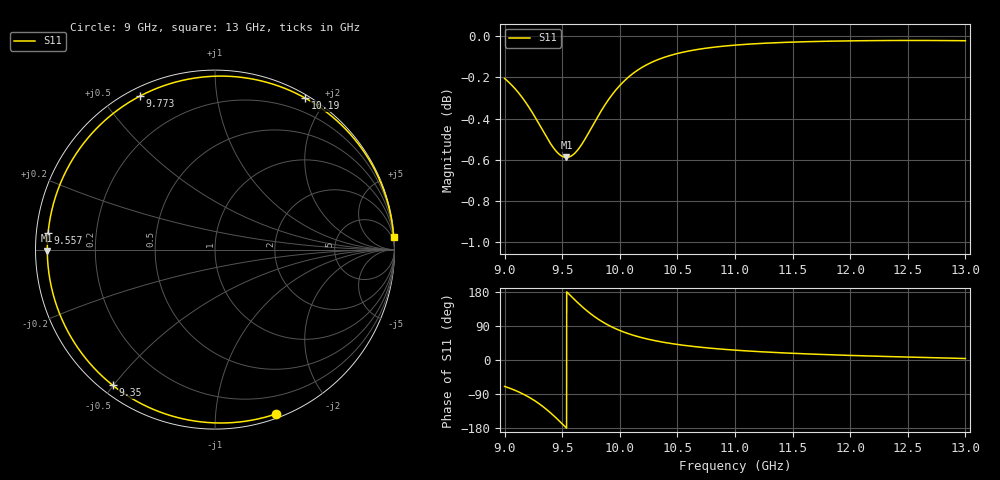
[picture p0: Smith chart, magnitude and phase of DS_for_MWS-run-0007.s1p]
! TOUCHSTONE file generated by CST DESIGN STUDIO
! Date and time: Tue Feb  4 14:13:27 2025
! Project name: C:\Work\MatlabApps\UnitCellOptimizationMatlab\CST\unitcell.cst
! Tree item: Tasks\Sweep1\SPara1\S-Parameters
! Header version: 2024
! Port assignment regex: !\s*Touchstone port\s*([0-9]+)\s*=\s*(CST MWS port|CST DES external port|CST DES block port)\s*(.+)\s* \(\"(.*)\"\)(\s*mode\s*([0-9]+))?.*
! Touchstone port assignment:
! Touchstone port 1 = CST DES external port 1 ("")
# GHz S MA R 50
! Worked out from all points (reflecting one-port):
!   4001 points, 9 GHz to 13 GHz, reference 50 ohm
!   lowest |S11| = -0.6 dB at 9.537 GHz (marker M1), VSWR 29.50, Z = 1.69 - j0.164 ohm
!   phase of S11 starts at -70 deg and turns -286 deg over the sweep
!   S11 on the Smith chart (normalised r, x): 9 GHz: 0.04, -1.44; 9.35 GHz: 0.03, -0.50; 9.557 GHz: 0.03, +0.05; 9.773 GHz: 0.03, +0.62; 10.19 GHz: 0.04, +1.76; 13 GHz: 1, +29
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9  0.9767 -69.7
9.099  0.9705 -81.1
9.207  0.9615 -97.4
9.282  0.9539 -111.6
9.35  0.9466 -127.0
9.421  0.9397 -145.5
9.462  0.9368 -157.2
9.5  0.935 -168.4
9.537  0.9344 -179.6
9.557  0.9346 174.3
9.611  0.9367 158.2
9.671  0.9414 141.2
9.722  0.9466 128.0
9.773  0.9521 116.1
9.821  0.9573 106.1
9.873  0.9625 96.5
9.936  0.968 86.5
10  0.9728 77.9
10.089  0.9781 68.0
10.187  0.9825 59.3
10.33  0.987 49.5
10.5  0.9904 41.0
10.721  0.9931 33.1
11  0.995 26.0
11.5  0.9967 17.7
12  0.9974 12.1
12.5  0.9976 7.7
13  0.9975 3.9
